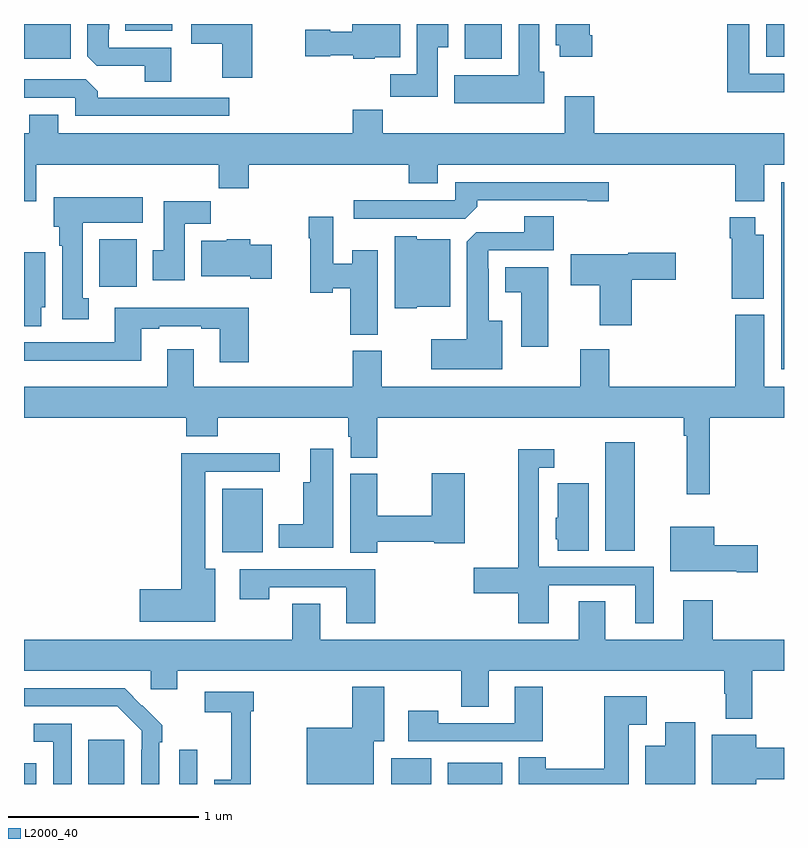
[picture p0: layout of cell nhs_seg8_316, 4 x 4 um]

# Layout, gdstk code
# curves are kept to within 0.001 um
import gdstk
lib = gdstk.Library(unit=1e-6, precision=1e-09)
def R(c, l, rs):  # rectangles x0, y0, x1, y1
    for r in rs: c.add(gdstk.rectangle(r[:2], r[2:], *l))
def P(c, l, *ps):  # polygons
    for p in ps: c.add(gdstk.Polygon(p, *l))
L2000_40 = (2000, 40)

nhs_seg8_316 = lib.new_cell('nhs_seg8_316')
R(nhs_seg8_316, L2000_40, [(131,1119.9,131.064,1120.009), (131.339,1119.9,131.527,1120.132), (131.817,1119.9,131.913,1120.081), (132.932,1119.9,133.144,1120.036), (133.229,1119.9,133.516,1120.012), (132.044,1121.12,132.256,1121.455), (134.06,1121.128,134.215,1121.698), (134.985,1122.084,135,1123.068), (131.397,1122.516,131.593,1122.766), (131,1123.718,131.245,1123.9), (133.319,1123.718,133.515,1123.9), (134.906,1123.727,135,1123.9), (131.534,1123.865,131.779,1123.9)])
P(nhs_seg8_316, L2000_40, [(132.202,1123.9),(131.88,1123.9),(131.88,1123.796),(132.044,1123.796),(132.044,1123.617),(132.202,1123.617)],
  [(133.177,1123.777),(133.234,1123.777),(133.234,1123.9),(133.067,1123.9),(133.067,1123.636),(132.928,1123.636),(132.928,1123.518),(133.177,1123.518)],
  [(133.738,1123.65),(133.711,1123.65),(133.711,1123.9),(133.604,1123.9),(133.604,1123.63),(133.265,1123.63),(133.265,1123.484),(133.738,1123.484)],
  [(134.993,1123.542),(135,1123.542),(135,1123.638),(134.817,1123.638),(134.817,1123.9),(134.701,1123.9),(134.701,1123.541),(134.993,1123.541)],
  [(131.776,1123.776),(131.445,1123.776),(131.445,1123.873),(131.449,1123.873),(131.449,1123.9),(131.333,1123.9),(131.333,1123.729),(131.382,1123.68),(131.636,1123.68),(131.636,1123.597),(131.776,1123.597)],
  [(133.991,1123.84),(133.978,1123.84),(133.978,1123.9),(133.799,1123.9),(133.799,1123.788),(133.82,1123.788),(133.82,1123.728),(133.991,1123.728)],
  [(132.846,1123.724),(132.979,1123.724),(132.979,1123.9),(132.728,1123.9),(132.728,1123.858),(132.612,1123.858),(132.612,1123.871),(132.48,1123.871),(132.48,1123.729),(132.612,1123.729),(132.612,1123.736),(132.732,1123.736),(132.732,1123.718),(132.846,1123.718)],
  [(132.079,1123.512),(131.387,1123.512),(131.387,1123.546),(131.325,1123.608),(131,1123.608),(131,1123.512),(131.271,1123.512),(131.271,1123.416),(132.079,1123.416)],
  [(132.025,1123.036),(132.182,1123.036),(132.182,1123.16),(133.025,1123.16),(133.025,1123.061),(133.177,1123.061),(133.177,1123.16),(134.744,1123.16),(134.744,1122.968),(134.896,1122.968),(134.896,1123.16),(135,1123.16),(135,1123.324),(134,1123.324),(134,1123.519),(133.847,1123.519),(133.847,1123.324),(132.887,1123.324),(132.887,1123.448),(132.731,1123.448),(132.731,1123.324),(131.179,1123.324),(131.179,1123.423),(131.027,1123.423),(131.027,1123.324),(131,1123.324),(131,1122.966),(131.065,1122.966),(131.065,1123.16),(132.025,1123.16)],
  [(133.385,1122.938),(133.385,1122.972),(133.964,1122.972),(133.964,1122.967),(134.077,1122.967),(134.077,1123.068),(133.269,1123.068),(133.269,1122.972),(132.735,1122.972),(132.735,1122.876),(133.323,1122.876)],
  [(131.341,1122.457),(131.308,1122.457),(131.308,1122.854),(131.626,1122.854),(131.626,1122.988),(131.156,1122.988),(131.156,1122.834),(131.186,1122.834),(131.186,1122.734),(131.201,1122.734),(131.201,1122.345),(131.341,1122.345)],
  [(131.845,1122.848),(131.984,1122.848),(131.984,1122.967),(131.735,1122.967),(131.735,1122.708),(131.678,1122.708),(131.678,1122.552),(131.845,1122.552)],
  [(133.516,1122.337),(133.447,1122.337),(133.447,1122.611),(133.443,1122.611),(133.443,1122.708),(133.787,1122.708),(133.787,1122.887),(133.634,1122.887),(133.634,1122.804),(133.38,1122.804),(133.331,1122.755),(133.331,1122.241),(133.143,1122.241),(133.143,1122.083),(133.516,1122.083)],
  [(132.862,1122.709),(132.728,1122.709),(132.728,1122.637),(132.628,1122.637),(132.628,1122.886),(132.499,1122.886),(132.499,1122.773),(132.506,1122.773),(132.506,1122.485),(132.624,1122.485),(132.624,1122.508),(132.716,1122.508),(132.716,1122.265),(132.862,1122.265)],
  [(134.893,1122.79),(134.848,1122.79),(134.848,1122.883),(134.714,1122.883),(134.714,1122.773),(134.726,1122.773),(134.726,1122.455),(134.893,1122.455)],
  [(133.068,1122.413),(133.243,1122.413),(133.243,1122.766),(133.068,1122.766),(133.068,1122.784),(132.95,1122.784),(132.95,1122.404),(133.068,1122.404)],
  [(132.304,1122.738),(132.192,1122.738),(132.192,1122.766),(132.066,1122.766),(132.066,1122.76),(131.933,1122.76),(131.933,1122.572),(132.191,1122.572),(132.191,1122.56),(132.304,1122.56)],
  [(131.092,1122.408),(131.113,1122.408),(131.113,1122.7),(131,1122.7),(131,1122.31),(131.092,1122.31)],
  [(134.198,1122.554),(134.431,1122.554),(134.431,1122.696),(134.181,1122.696),(134.181,1122.688),(133.878,1122.688),(133.878,1122.526),(134.03,1122.526),(134.03,1122.315),(134.198,1122.315)],
  [(133.759,1122.619),(133.532,1122.619),(133.532,1122.488),(133.616,1122.488),(133.616,1122.201),(133.759,1122.201)],
  [(132.182,1122.406),(131.477,1122.406),(131.477,1122.225),(131,1122.225),(131,1122.128),(131.617,1122.128),(131.617,1122.297),(131.713,1122.297),(131.713,1122.309),(131.933,1122.309),(131.933,1122.297),(132.029,1122.297),(132.029,1122.12),(132.182,1122.12)],
  [(134.609,1121.828),(135,1121.828),(135,1121.992),(134.896,1121.992),(134.896,1122.37),(134.744,1122.37),(134.744,1121.992),(134.081,1121.992),(134.081,1122.187),(133.928,1122.187),(133.928,1121.992),(132.883,1121.992),(132.883,1122.18),(132.731,1122.18),(132.731,1121.992),(131.893,1121.992),(131.893,1122.187),(131.753,1122.187),(131.753,1121.992),(131,1121.992),(131,1121.828),(131.855,1121.828),(131.855,1121.729),(132.02,1121.729),(132.02,1121.828),(132.707,1121.828),(132.707,1121.727),(132.719,1121.727),(132.719,1121.617),(132.86,1121.617),(132.86,1121.828),(134.473,1121.828),(134.473,1121.732),(134.488,1121.732),(134.488,1121.424),(134.609,1121.424)],
  [(132.628,1121.665),(132.506,1121.665),(132.506,1121.488),(132.47,1121.488),(132.47,1121.266),(132.341,1121.266),(132.341,1121.144),(132.628,1121.144)],
  [(133.762,1120.947),(134.216,1120.947),(134.216,1120.746),(134.314,1120.746),(134.314,1121.043),(133.71,1121.043),(133.71,1121.565),(133.792,1121.565),(133.792,1121.662),(133.602,1121.662),(133.602,1121.039),(133.368,1121.039),(133.368,1120.904),(133.601,1120.904),(133.601,1120.746),(133.762,1120.746)],
  [(132.007,1121.032),(131.953,1121.032),(131.953,1121.544),(132.346,1121.544),(132.346,1121.642),(131.828,1121.642),(131.828,1120.925),(131.61,1120.925),(131.61,1120.754),(132.007,1120.754)],
  [(132.858,1121.176),(133.158,1121.176),(133.158,1121.168),(133.32,1121.168),(133.32,1121.536),(133.147,1121.536),(133.147,1121.312),(132.858,1121.312),(132.858,1121.532),(132.716,1121.532),(132.716,1121.116),(132.858,1121.116)],
  [(133.972,1121.482),(133.808,1121.482),(133.808,1121.301),(133.799,1121.301),(133.799,1121.187),(133.808,1121.187),(133.808,1121.128),(133.972,1121.128)],
  [(134.863,1121.156),(134.632,1121.156),(134.632,1121.254),(134.402,1121.254),(134.402,1121.021),(134.75,1121.021),(134.75,1121.014),(134.863,1121.014)],
  [(132.848,1121.031),(132.135,1121.031),(132.135,1120.872),(132.291,1120.872),(132.291,1120.935),(132.695,1120.935),(132.695,1120.746),(132.848,1120.746)],
  [(134.833,1120.496),(135,1120.496),(135,1120.66),(134.624,1120.66),(134.624,1120.867),(134.471,1120.867),(134.471,1120.66),(134.059,1120.66),(134.059,1120.862),(133.919,1120.862),(133.919,1120.66),(132.559,1120.66),(132.559,1120.85),(132.412,1120.85),(132.412,1120.66),(131,1120.66),(131,1120.496),(131.667,1120.496),(131.667,1120.398),(131.806,1120.398),(131.806,1120.496),(133.3,1120.496),(133.3,1120.306),(133.447,1120.306),(133.447,1120.496),(134.686,1120.496),(134.686,1120.376),(134.693,1120.376),(134.693,1120.244),(134.833,1120.244)],
  [(133.731,1120.411),(133.583,1120.411),(133.583,1120.221),(133.179,1120.221),(133.179,1120.285),(133.023,1120.285),(133.023,1120.125),(133.731,1120.125)],
  [(132.841,1120.124),(132.895,1120.124),(132.895,1120.411),(132.728,1120.411),(132.728,1120.195),(132.488,1120.195),(132.488,1119.9),(132.841,1119.9)],
  [(131.712,1120.121),(131.727,1120.121),(131.727,1120.209),(131.53,1120.404),(131,1120.404),(131,1120.308),(131.491,1120.308),(131.619,1120.179),(131.619,1120.079),(131.616,1120.079),(131.616,1119.9),(131.712,1119.9)],
  [(132.194,1120.283),(132.209,1120.283),(132.209,1120.386),(131.952,1120.386),(131.952,1120.278),(132.092,1120.278),(132.092,1119.922),(132.002,1119.922),(132.002,1119.9),(132.194,1119.9)],
  [(134.182,1120.211),(134.278,1120.211),(134.278,1120.363),(134.053,1120.363),(134.053,1119.98),(133.746,1119.98),(133.746,1120.04),(133.604,1120.04),(133.604,1119.9),(134.182,1119.9)],
  [(134.533,1120.225),(134.375,1120.225),(134.375,1120.102),(134.27,1120.102),(134.27,1119.9),(134.533,1119.9)],
  [(131.25,1120.218),(131.052,1120.218),(131.052,1120.122),(131.154,1120.122),(131.154,1119.9),(131.25,1119.9)],
  [(134.854,1119.926),(135,1119.926),(135,1120.092),(134.854,1120.092),(134.854,1120.159),(134.621,1120.159),(134.621,1119.9),(134.854,1119.9)])

lib.write_gds('nhs_seg8_316.gds')
